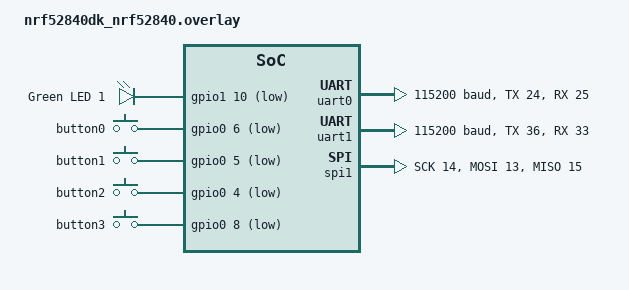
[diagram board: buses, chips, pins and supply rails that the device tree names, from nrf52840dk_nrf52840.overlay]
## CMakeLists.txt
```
# SPDX-License-Identifier: Apache-2.0

cmake_minimum_required(VERSION 3.20.0)

find_package(Zephyr REQUIRED HINTS $ENV{ZEPHYR_BASE})
project(getBrain_FW_nRF5340_NCS)

# NORDIC SDK APP START

target_sources(app PRIVATE 
        src/main.c
        getBrain_BleService/getBrain_BleService.c
        driver_libs/ads1299/Ads1299.c
        driver_libs/ads1299/Ads1299_Cfg.c
        driver_libs/circular_buffer/CircularBuffer.c
        getBrain_Apps/App_CollectStream.c  
)

# NORDIC SDK APP END
zephyr_library_include_directories(.)
```

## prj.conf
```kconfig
# nothing here

CONFIG_BT=y
CONFIG_BT_DEBUG_LOG=y
# CONFIG_BT_DEBUG_NONE=y
CONFIG_BT_DEBUG_MONITOR_UART=n
CONFIG_BT_MAX_CONN=1
CONFIG_BT_L2CAP_TX_BUF_COUNT=5
CONFIG_BT_L2CAP_TX_MTU=128
CONFIG_BT_BUF_ACL_RX_SIZE=128
CONFIG_BT_PERIPHERAL=y
CONFIG_BT_DEVICE_NAME="getBrain_nRf52_NCS_1"
CONFIG_BT_DEVICE_APPEARANCE=962
CONFIG_BT_USER_PHY_UPDATE=y
CONFIG_BT_USER_DATA_LEN_UPDATE=y

CONFIG_HEAP_MEM_POOL_SIZE=4096

# This example requires more workqueue stack
CONFIG_SYSTEM_WORKQUEUE_STACK_SIZE=2048

CONFIG_GPIO=n
CONFIG_NRFX_GPIOTE=y

CONFIG_SPI=n
CONFIG_NRFX_SPI1=y
CONFIG_NRFX_SPIM1=y

CONFIG_RING_BUFFER=y
```

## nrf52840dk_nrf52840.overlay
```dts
// / {
// 	ads1299_gpios {
// 		compatible = "gpio-ads1299";
// 		ads1299io0: ads1299io_0{
// 			gpios = <&gpio0 30 (GPIO_ACTIVE_LOW)>;
// 		};
// 		ads1299io1: ads1299io_1{
// 			gpios = <&gpio0 27 (GPIO_ACTIVE_LOW)>;
// 		};
// 		ads1299io2: ads1299io_2{
// 			gpios = <&gpio1 12 (GPIO_ACTIVE_LOW)>;
// 		};
// 		ads1299io3: ads1299io_3{
// 			gpios = <&gpio1 2 (GPIO_ACTIVE_LOW)>;
// 		};
// 	};

// 	leds {
// 		compatible = "gpio-leds";
// 		led1: led_1 {
// 			gpios = <&gpio1 11 GPIO_ACTIVE_LOW>;
// 			label = "Green LED 1";
// 		};	
// 	};

// 	buttons {
// 		compatible = "gpio-keys";
// 		button0: button_0 {
// 			gpios = <&gpio0 30 (GPIO_ACTIVE_LOW)>;
// 		};
// 		button1: button_1 {
// 			gpios = <&gpio0 27 (GPIO_ACTIVE_LOW)>;
// 		};
// 		button2: button_2 {
// 			gpios = <&gpio1 12 (GPIO_ACTIVE_LOW)>;
// 		};
// 		button3: button_3 {
// 			gpios = <&gpio1 2 (GPIO_ACTIVE_LOW)>;
// 		};
// 	};

// 	aliases {
// 		ads1299idrdy = &button0;
// 		ads1299orst = &button1;
// 		ads1299ostart = &button2;
// 		ads1299ocs = &button3;
// 		ads1299opwdn = &led1;
// 	};
// };

// &uart0 {
// 	compatible = "nordic,nrf-uarte";
// 	status = "okay";
// 	current-speed = <115200>;
// 	tx-pin = <35>;
// 	rx-pin = <42>;
// };

// &uart1 {
// 	status = "okay";
// 	current-speed = <115200>;
// 	rx-pin = <33>;
// 	tx-pin = <36>;
// };

// &spi1 {
// 	compatible = "nordic,nrf-spim";
// 	status = "okay";
// 	sck-pin =  <13>;
// 	mosi-pin = <33>;
// 	miso-pin = <40>;
// 	// cs-gpios = <&gpio1 2 GPIO_ACTIVE_LOW>; /* D10 */
// };


/ {
	leds {
		compatible = "gpio-leds";
		led1: led_1 {
			gpios = <&gpio1 10 GPIO_ACTIVE_LOW>;
			label = "Green LED 1";
		};	
	};

	buttons {
		compatible = "gpio-keys";
		button0: button_0 {
			gpios = <&gpio0 6 (GPIO_ACTIVE_LOW)>;
		};
		button1: button_1 {
			gpios = <&gpio0 5 (GPIO_ACTIVE_LOW)>;
		};
		button2: button_2 {
			gpios = <&gpio0 4 (GPIO_ACTIVE_LOW)>;
		};
		button3: button_3 {
			gpios = <&gpio0 8 (GPIO_ACTIVE_LOW)>;
		};
	};

	aliases {
		ads1299idrdy = &button0;
		ads1299orst = &button1;
		ads1299ostart = &button2;
		ads1299ocs = &button3;
		ads1299opwdn = &led1;
	};
};

&uart0 {
	compatible = "nordic,nrf-uarte";
	status = "okay";
	current-speed = <115200>;
	tx-pin = <24>;
	rx-pin = <25>;
	rts-pin = <1>;
	cts-pin = <7>;
};

&uart1 {
	status = "okay";
	current-speed = <115200>;
	rx-pin = <33>;
	tx-pin = <36>;
};

&spi1 {
	compatible = "nordic,nrf-spim";
	status = "okay";
	sck-pin =  <14>;
	mosi-pin = <13>;
	miso-pin = <15>;
	// cs-gpios = <&gpio1 2 GPIO_ACTIVE_LOW>; /* D10 */
};
```

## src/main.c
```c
/*
 * Copyright (c) 2012-2014 Wind River Systems, Inc.
 *
 * SPDX-License-Identifier: Apache-2.0
 */



#include "../getBrain_Apps/App_CollectStream.h"

void main(void)
{
	App_CollectStream_BLE_MainRun();
	
	while(1)
	{

	}
	
}




// #include <zephyr.h>
// #include <sys/printk.h>
// #include <nrfx_spim.h>


// static const nrfx_spim_t spim_dev = NRFX_SPIM_INSTANCE(1);

// /**< Flag used to indicate that SPI instance completed the transfer. */
// static volatile bool spi_xfer_done = false; 

// #define TEST_STRING "Nordic123456789012345678901234567890"
// static uint8_t       m_tx_buf[] = TEST_STRING;           /**< TX buffer. */
// static uint8_t       m_rx_buf[sizeof(TEST_STRING) + 1];  /**< RX buffer. */
// static const uint8_t m_length = sizeof(m_tx_buf);        /**< Transfer length. */

// void spim_event_handler(nrfx_spim_evt_t const * p_event,
//                        void *                  p_context)
// {
//     spi_xfer_done = true;
// 	printk("Transfer completed.\n");
// }

// void main()
// {
// 	// Init
// 	nrfx_err_t nrfx_err;

//     nrfx_spim_config_t spim_config = {
//     	.sck_pin = 13,
//     	.mosi_pin = 33,
//     	.miso_pin = 40,
//     	.ss_pin   = 34,
//     	.irq_priority = NRFX_SPI_DEFAULT_CONFIG_IRQ_PRIORITY,
//     	.orc          = 0xFF,
//     	.frequency    = NRF_SPIM_FREQ_1M,
//     	.mode         = NRF_SPIM_MODE_1,
//     	.bit_order    = NRF_SPIM_BIT_ORDER_MSB_FIRST,
//     	.miso_pull    = NRF_GPIO_PIN_NOPULL,   
// 		.ss_active_high = false,
//     };

// 	IRQ_CONNECT(SPIM1_SPIS1_TWIM1_TWIS1_SPI1_TWI1_IRQn, 6, nrfx_isr,
// 		    nrfx_spim_1_irq_handler, 0);

//     nrfx_err = nrfx_spim_init(&spim_dev, &spim_config, spim_event_handler, NULL);
// 	if(nrfx_err != NRFX_SUCCESS)
// 	{
// 		printk("SPIM Init Error\n");
// 	}

// 	nrfx_spim_xfer_desc_t xfer_desc = NRFX_SPIM_XFER_TRX(m_tx_buf, m_length, m_rx_buf, m_length);

// 	while(1)
// 	{
// 		// Reset rx buffer and transfer done flag
//         memset(m_rx_buf, 0, m_length);
//         spi_xfer_done = false;

// 		nrfx_spim_xfer(&spim_dev, &xfer_desc, 0);


//         while (!spi_xfer_done)
//         {
//             __WFE();
//         }
// 	}
// }
```
